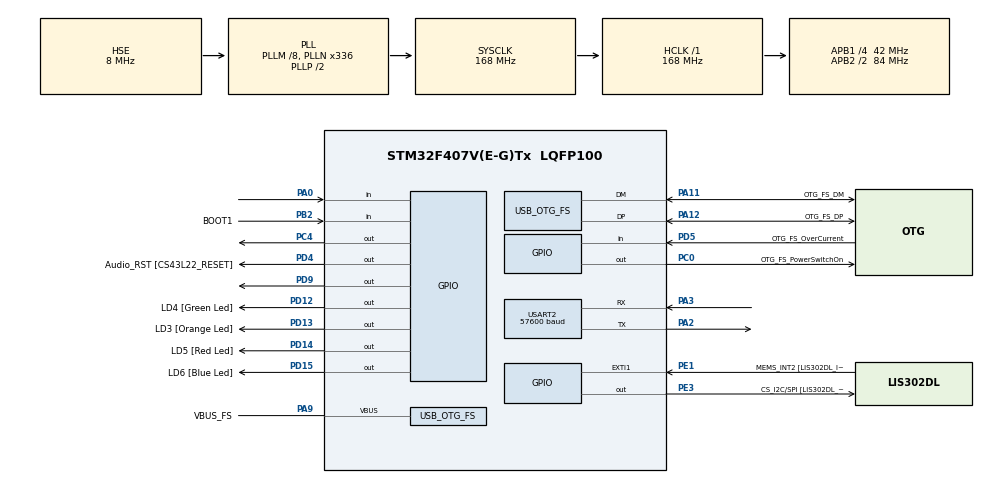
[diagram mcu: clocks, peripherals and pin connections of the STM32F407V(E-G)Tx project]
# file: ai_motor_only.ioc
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Mcu.Family=STM32F4
Mcu.Name=STM32F407V(E-G)Tx
Mcu.Package=LQFP100
NVIC.OTG_FS_IRQn=true\:0\:0\:false\:false\:true\:true\:true\:true
NVIC.PriorityGroup=NVIC_PRIORITYGROUP_0
NVIC.USART2_IRQn=true\:0\:0\:false\:false\:true\:true\:true\:true
PA0-WKUP.Signal=GPIO_Input
PA10.GPIO_Label=OTG_FS_ID
PA10.GPIO_Mode=GPIO_MODE_AF_PP
PA10.GPIO_PuPd=GPIO_NOPULL
PA10.GPIO_Speed=GPIO_SPEED_FREQ_LOW
PA10.Signal=USB_OTG_FS_ID
PA11.GPIO_Label=OTG_FS_DM
PA11.GPIO_Mode=GPIO_MODE_AF_PP
PA11.GPIO_PuPd=GPIO_NOPULL
PA11.GPIO_Speed=GPIO_SPEED_FREQ_LOW
PA11.Mode=Host_Only
PA11.Signal=USB_OTG_FS_DM
PA12.GPIO_Label=OTG_FS_DP
PA12.GPIO_Mode=GPIO_MODE_AF_PP
PA12.GPIO_PuPd=GPIO_NOPULL
PA12.GPIO_Speed=GPIO_SPEED_FREQ_LOW
PA12.Mode=Host_Only
PA12.Signal=USB_OTG_FS_DP
PA13.GPIO_Label=SWDIO
PA13.Mode=Serial_Wire
PA13.Signal=SYS_JTMS-SWDIO
PA14.GPIO_Label=SWCLK
PA14.Mode=Serial_Wire
PA14.Signal=SYS_JTCK-SWCLK
PA2.Mode=Asynchronous
PA2.Signal=USART2_TX
PA3.Mode=Asynchronous
PA3.Signal=USART2_RX
PA4.GPIO_Label=I2S3_WS [CS43L22_LRCK]
PA4.GPIO_Mode=GPIO_MODE_AF_PP
PA4.GPIO_PuPd=GPIO_NOPULL
PA4.GPIO_Speed=GPIO_SPEED_FREQ_LOW
PA4.Signal=I2S3_WS
PA5.GPIO_Label=SPI1_SCK [LIS302DL_SCL/SPC]
PA5.GPIO_Mode=GPIO_MODE_AF_PP
PA5.GPIO_PuPd=GPIO_NOPULL
PA5.GPIO_Speed=GPIO_SPEED_FREQ_LOW
PA5.Signal=SPI1_SCK
PA6.GPIO_Label=SPI1_MISO [LIS302DL_SDO]
PA6.GPIO_Mode=GPIO_MODE_AF_PP
PA6.GPIO_PuPd=GPIO_NOPULL
PA6.GPIO_Speed=GPIO_SPEED_FREQ_LOW
PA6.Signal=SPI1_MISO
PA7.GPIO_Label=SPI1_MOSI [LIS302DL_SDA/SDI/SDO]
PA7.GPIO_Mode=GPIO_MODE_AF_PP
PA7.GPIO_PuPd=GPIO_NOPULL
PA7.GPIO_Speed=GPIO_SPEED_FREQ_LOW
PA7.Signal=SPI1_MOSI
PA9.GPIO_Label=VBUS_FS
PA9.GPIO_Mode=GPIO_MODE_INPUT
PA9.GPIO_PuPd=GPIO_NOPULL
PA9.Mode=Activate_VBUS
PA9.Signal=USB_OTG_FS_VBUS
PB10.GPIO_Label=CLK_IN [MP45DT02_CLK]
PB10.GPIO_Mode=GPIO_MODE_AF_PP
PB10.GPIO_PuPd=GPIO_NOPULL
PB10.GPIO_Speed=GPIO_SPEED_FREQ_LOW
PB10.Signal=I2S2_CK
PB2.GPIO_Label=BOOT1
PB2.GPIO_Mode=GPIO_MODE_INPUT
PB2.GPIO_PuPd=GPIO_NOPULL
PB2.Signal=GPIO_Input
PB3.GPIO_Label=SWO
PB3.Signal=SYS_JTDO-SWO
PB6.GPIO_Label=Audio_SCL [CS43L22_SCL]
PB6.GPIO_Mode=GPIO_MODE_AF_OD
PB6.GPIO_Pu=GPIO_PULLUP
PB6.GPIO_PuPd=GPIO_NOPULL
PB6.GPIO_Speed=GPIO_SPEED_FREQ_LOW
PB6.Signal=I2C1_SCL
PB9.GPIO_Label=Audio_SDA [CS43L22_SDA]
PB9.GPIO_Mode=GPIO_MODE_AF_OD
PB9.GPIO_Pu=GPIO_PULLUP
PB9.GPIO_PuPd=GPIO_NOPULL
PB9.GPIO_Speed=GPIO_SPEED_FREQ_LOW
PB9.Signal=I2C1_SDA
PC0.GPIO_Label=OTG_FS_PowerSwitchOn
PC0.GPIO_PuPd=GPIO_NOPULL
PC0.GPIO_Speed=GPIO_SPEED_FREQ_LOW
PC0.PinState=GPIO_PIN_SET
PC0.Signal=GPIO_Output
PC10.GPIO_Label=I2S3_SCK [CS43L22_SCLK]
PC10.GPIO_Mode=GPIO_MODE_AF_PP
PC10.GPIO_PuPd=GPIO_NOPULL
PC10.GPIO_Speed=GPIO_SPEED_FREQ_LOW
PC10.Signal=I2S3_CK
PC12.GPIO_Label=I2S3_SD [CS43L22_SDIN]
PC12.GPIO_Mode=GPIO_MODE_AF_PP
PC12.GPIO_PuPd=GPIO_NOPULL
PC12.GPIO_Speed=GPIO_SPEED_FREQ_LOW
PC12.Signal=I2S3_SD
PC14-OSC32_IN.GPIO_Label=PC14-OSC32_IN
PC14-OSC32_IN.Mode=LSE-External-Oscillator
PC14-OSC32_IN.Signal=RCC_OSC32_IN
PC15-OSC32_OUT.GPIO_Label=PC15-OSC32_OUT
PC15-OSC32_OUT.Mode=LSE-External-Oscillator
PC15-OSC32_OUT.Signal=RCC_OSC32_OUT
PC3.GPIO_Label=PDM_OUT [MP45DT02_DOUT]
PC3.GPIO_Mode=GPIO_MODE_AF_PP
PC3.GPIO_PuPd=GPIO_NOPULL
PC3.GPIO_Speed=GPIO_SPEED_FREQ_LOW
PC3.Signal=I2S2_SD
PC4.Signal=GPIO_Output
PC7.GPIO_Label=I2S3_MCK [CS43L22_MCLK]
PC7.GPIO_Mode=GPIO_MODE_AF_PP
PC7.GPIO_PuPd=GPIO_NOPULL
PC7.GPIO_Speed=GPIO_SPEED_FREQ_LOW
PC7.Signal=I2S3_MCK
PD12.GPIO_Label=LD4 [Green Led]
PD12.GPIO_PuPd=GPIO_NOPULL
PD12.GPIO_Speed=GPIO_SPEED_FREQ_LOW
PD12.Signal=GPIO_Output
PD13.GPIO_Label=LD3 [Orange Led]
PD13.GPIO_PuPd=GPIO_NOPULL
PD13.GPIO_Speed=GPIO_SPEED_FREQ_LOW
PD13.Signal=GPIO_Output
PD14.GPIO_Label=LD5 [Red Led]
PD14.GPIO_PuPd=GPIO_NOPULL
PD14.GPIO_Speed=GPIO_SPEED_FREQ_LOW
PD14.Signal=GPIO_Output
PD15.GPIO_Label=LD6 [Blue Led]
PD15.GPIO_PuPd=GPIO_NOPULL
PD15.GPIO_Speed=GPIO_SPEED_FREQ_LOW
PD15.Signal=GPIO_Output
PD4.GPIO_Label=Audio_RST [CS43L22_RESET]
PD4.GPIO_PuPd=GPIO_NOPULL
PD4.GPIO_Speed=GPIO_SPEED_FREQ_LOW
PD4.Signal=GPIO_Output
PD5.GPIO_Label=OTG_FS_OverCurrent
PD5.GPIO_Mode=GPIO_MODE_INPUT
PD5.GPIO_PuPd=GPIO_NOPULL
PD5.Signal=GPIO_Input
PD9.Signal=GPIO_Output
PE1.GPIO_Label=MEMS_INT2 [LIS302DL_INT2]
PE1.GPIO_ModeDefaultEXTI=GPIO_MODE_EVT_RISING
PE1.GPIO_PuPd=GPIO_NOPULL
PE1.Signal=GPXTI1
PE3.GPIO_Label=CS_I2C/SPI [LIS302DL_CS_I2C/SPI]
PE3.GPIO_PuPd=GPIO_NOPULL
PE3.GPIO_Speed=GPIO_SPEED_FREQ_LOW
PE3.Signal=GPIO_Output
PH0-OSC_IN.GPIO_Label=PH0-OSC_IN
PH0-OSC_IN.Mode=HSE-External-Oscillator
PH0-OSC_IN.Signal=RCC_OSC_IN
PH1-OSC_OUT.GPIO_Label=PH1-OSC_OUT
PH1-OSC_OUT.Mode=HSE-External-Oscillator
PH1-OSC_OUT.Signal=RCC_OSC_OUT
ProjectManager.HeapSize=0x200
ProjectManager.StackSize=0x400
ProjectManager.TargetToolchain=MDK-ARM V5
RCC.48MHZClocksFreq_Value=48000000
RCC.AHBFreq_Value=168000000
RCC.APB1CLKDivider=RCC_HCLK_DIV4
RCC.APB1Freq_Value=42000000
RCC.APB1TimFreq_Value=84000000
RCC.APB2CLKDivider=RCC_HCLK_DIV2
RCC.APB2Freq_Value=84000000
RCC.APB2TimFreq_Value=168000000
RCC.CortexFreq_Value=168000000
RCC.HCLKFreq_Value=168000000
RCC.HSE_VALUE=8000000
RCC.HSI_VALUE=16000000
RCC.PLLM=8
RCC.PLLN=336
RCC.PLLQ=7
RCC.SYSCLKFreq_VALUE=168000000
RCC.SYSCLKSource=RCC_SYSCLKSOURCE_PLLCLK
RCC.VCOOutputFreq_Value=336000000
USART2.BaudRate=57600
USART2.VirtualMode=VM_ASYNC
USB_HOST.BSP.number=1
USB_HOST.USBH_HandleTypeDef-CDC_FS=hUsbHostFS
USB_HOST.VirtualModeFS=Cdc
USB_HOST0.BSP.STBoard=false
USB_HOST0.BSP.api=Unknown
USB_HOST0.BSP.instance=PC0
USB_HOST0.BSP.ip=GPIO
USB_HOST0.BSP.mode=Output
USB_HOST0.BSP.name=Drive_VBUS_FS
USB_HOST0.BSP.solution=PC0
USB_OTG_FS.VirtualMode=Host_Only
USB_OTG_FS.phy_itface=HCD_PHY_EMBEDDED
VP_USB_HOST_VS_USB_HOST_CDC_FS.Mode=CDC_FS
board=STM32F407G-DISC1

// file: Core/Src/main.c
/* USER CODE BEGIN Header */
/**
  ******************************************************************************
  * @file           : main.c
  * @brief          : Main program body
  ******************************************************************************
  * @attention
  *
  * Copyright (c) 2025 STMicroelectronics.
  * All rights reserved.
  *
  * This software is licensed under terms that can be found in the LICENSE file
  * in the root directory of this software component.
  * If no LICENSE file comes with this software, it is provided AS-IS.
  *
  ******************************************************************************
  */
/* USER CODE END Header */
#include "main.h"
#include "usart.h"
#include "usb_host.h"
#include "gpio.h"

/* USER CODE BEGIN Includes */
#include "control_table.h"
#include "my_dynamixel.h"
#include <stdlib.h> // for boolean type

volatile ServoXM4340 myServo;

/* USER CODE END Includes */

void SystemClock_Config(void);
void MX_USB_HOST_Process(void);

int main(void)
{

  /* MCU Configuration--------------------------------------------------------*/

  /* Reset of all peripherals, Initializes the Flash interface and the Systick. */
  HAL_Init();

  /* Configure the system clock */
  SystemClock_Config();

  /* Initialize all configured peripherals */
  MX_GPIO_Init();
  MX_USART2_UART_Init();
  MX_USB_HOST_Init();
  /* USER CODE BEGIN 2 */
	//AI MOTOR//
	myServo.huart = &huart2;
	myServo.ctrlPort = GPIOC;
	myServo.ctrlPin = GPIO_PIN_4;
	myServo.ID = 1;

	setServo_TorqueENA(&myServo, TORQUE_DISABLE);
  setServo_OperatingMode(&myServo, CurrentBased_POS_CtrlMode);
	// setServo_BaudRate(&myServo,BaudRate_1M);

  myServo.TorqueENA = getServo_TorqueENA(&myServo);
  myServo.BaudRate = getServo_BaudRate(&myServo);
  myServo.OperatingMode = getServo_OperatingMode(&myServo);

	setServo_TorqueENA(&myServo, TORQUE_ENABLE);
  setServo_GoalPosition(&myServo, 0);
  HAL_GPIO_WritePin(GPIOD, LD4_Pin, GPIO_PIN_SET);

	//BOTTON//
	 uint8_t buttonPrev = 0;
   uint8_t pressCount = 0;

  /* USER CODE END 2 */

  /* Infinite loop */
  while (1)
  {
    MX_USB_HOST_Process();

    /* USER CODE BEGIN 3 */
		//setServo_GoalPosition(&myServo, 0);
		uint8_t buttonNow = HAL_GPIO_ReadPin(GPIOA, GPIO_PIN_0);

    if (buttonNow == GPIO_PIN_SET && buttonPrev == GPIO_PIN_RESET)
    {

      pressCount++;

      if (pressCount % 2 == 1)
      {

          setServo_GoalPosition(&myServo, 100);
					setServo_GoalCurrent(&myServo,150 );
      }
      else
      {

          setServo_GoalPosition(&myServo, 0);
					setServo_GoalCurrent(&myServo,150 );

      }
    }

    buttonPrev = buttonNow;
    HAL_Delay(20);
  }
  /* USER CODE END 3 */
}

void SystemClock_Config(void)
{
  RCC_OscInitTypeDef RCC_OscInitStruct = {0};
  RCC_ClkInitTypeDef RCC_ClkInitStruct = {0};

  /** Configure the main internal regulator output voltage
  */
  __HAL_RCC_PWR_CLK_ENABLE();
  __HAL_PWR_VOLTAGESCALING_CONFIG(PWR_REGULATOR_VOLTAGE_SCALE1);

  /** Initializes the RCC Oscillators according to the specified parameters
  * in the RCC_OscInitTypeDef structure.
  */
  RCC_OscInitStruct.OscillatorType = RCC_OSCILLATORTYPE_HSE;
  RCC_OscInitStruct.HSEState = RCC_HSE_ON;
  RCC_OscInitStruct.PLL.PLLState = RCC_PLL_ON;
  RCC_OscInitStruct.PLL.PLLSource = RCC_PLLSOURCE_HSE;
  RCC_OscInitStruct.PLL.PLLM = 8;
  RCC_OscInitStruct.PLL.PLLN = 336;
  RCC_OscInitStruct.PLL.PLLP = RCC_PLLP_DIV2;
  RCC_OscInitStruct.PLL.PLLQ = 7;
  if (HAL_RCC_OscConfig(&RCC_OscInitStruct) != HAL_OK)
  {
    Error_Handler();
  }

  /** Initializes the CPU, AHB and APB buses clocks
  */
  RCC_ClkInitStruct.ClockType = RCC_CLOCKTYPE_HCLK|RCC_CLOCKTYPE_SYSCLK
                              |RCC_CLOCKTYPE_PCLK1|RCC_CLOCKTYPE_PCLK2;
  RCC_ClkInitStruct.SYSCLKSource = RCC_SYSCLKSOURCE_PLLCLK;
  RCC_ClkInitStruct.AHBCLKDivider = RCC_SYSCLK_DIV1;
  RCC_ClkInitStruct.APB1CLKDivider = RCC_HCLK_DIV4;
  RCC_ClkInitStruct.APB2CLKDivider = RCC_HCLK_DIV2;

  if (HAL_RCC_ClockConfig(&RCC_ClkInitStruct, FLASH_LATENCY_5) != HAL_OK)
  {
    Error_Handler();
  }
}

/* USER CODE BEGIN 4 */
void HAL_UART_RxCpltCallback(UART_HandleTypeDef *huart)
{

  if (huart->Instance == USART2)
  {
    UNUSED(huart);
    setServoResponse_RxFinished(&myServo, true);
  }
}

/* USER CODE END 4 */

void Error_Handler(void)
{
  __disable_irq();
  while (1)
  {
  }
}
